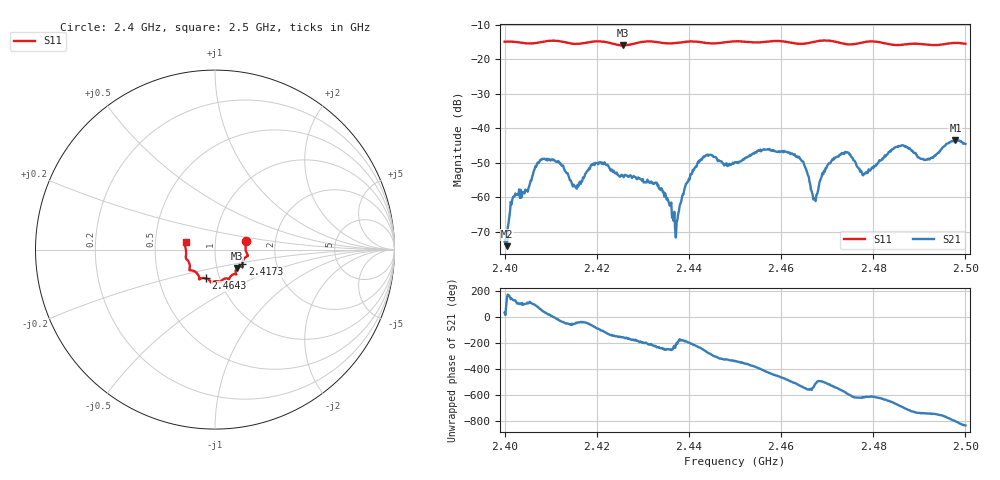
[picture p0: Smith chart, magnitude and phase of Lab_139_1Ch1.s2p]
# Hz S RI R 50
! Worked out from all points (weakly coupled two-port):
!   601 points, 2.4 GHz to 2.5 GHz, reference 50 ohm
!   highest |S21| = -43.52 dB at 2.4978 GHz (marker M1); lowest = -74.3 dB at 2.4005 GHz (marker M2)
!   lowest |S11| = -15.9 dB at 2.4257 GHz (marker M3), VSWR 1.38, Z = 62.4 - j13.1 ohm
!   |S11| at or under -10 dB: start of sweep to end of sweep
!   S12 and S22 are empty: the file has one direction only
!   S11 on the Smith chart (normalised r, x): 2.4 GHz: 1.41, +0.14; 2.4173 GHz: 1.34, -0.23; 2.4643 GHz: 0.86, -0.28; 2.5 GHz: 0.72, +0.06
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2.4e9  0.1737 0.0493  0.000188 0.000124  0 0  0 0
2.4005e9  0.175 0.0474  -0.000162 0.000106  0 0  0 0
2.401833e9  0.1757 0.0421  -0.000668 0.000751  0 0  0 0
2.408e9  0.178 -0.0213  0.00209 0.00277  0 0  0 0
2.416667e9  0.1526 -0.0749  0.00135 -0.00102  0 0  0 0
2.417333e9  0.1521 -0.0824  0.00152 -0.00129  0 0  0 0
2.420333e9  0.1548 -0.0973  4.71e-05 -0.003  0 0  0 0
2.425667e9  0.1224 -0.1025  -0.00187 -0.000867  0 0  0 0
2.433333e9  0.1125 -0.1367  -0.000913 0.00121  0 0  0 0
2.437167e9  0.0864 -0.1498  -0.000211 0.000148  0 0  0 0
2.4395e9  0.0803 -0.1619  -0.00156 0.00022  0 0  0 0
2.4425e9  0.0723 -0.1627  -0.0019 0.00284  0 0  0 0
2.45e9  0.0293 -0.1809  0.00299 0.00118  0 0  0 0
2.457e9  -0.0139 -0.1807  0.00227 -0.00433  0 0  0 0
2.464333e9  -0.0502 -0.1604  -0.00344 -0.000441  0 0  0 0
2.466667e9  -0.0762 -0.1595  -0.00113 0.000406  0 0  0 0
2.4735e9  -0.0941 -0.141  -0.0038 0.00217  0 0  0 0
2.478167e9  -0.1364 -0.1159  -0.000502 0.00215  0 0  0 0
2.483333e9  -0.1403 -0.0896  0.00101 0.00438  0 0  0 0
2.491833e9  -0.1611 -0.0272  0.00331 -0.00133  0 0  0 0
2.497833e9  -0.171 0.0311  0.00102 -0.00659  0 0  0 0
2.5e9  -0.1635 0.0416  -0.00232 -0.00544  0 0  0 0
